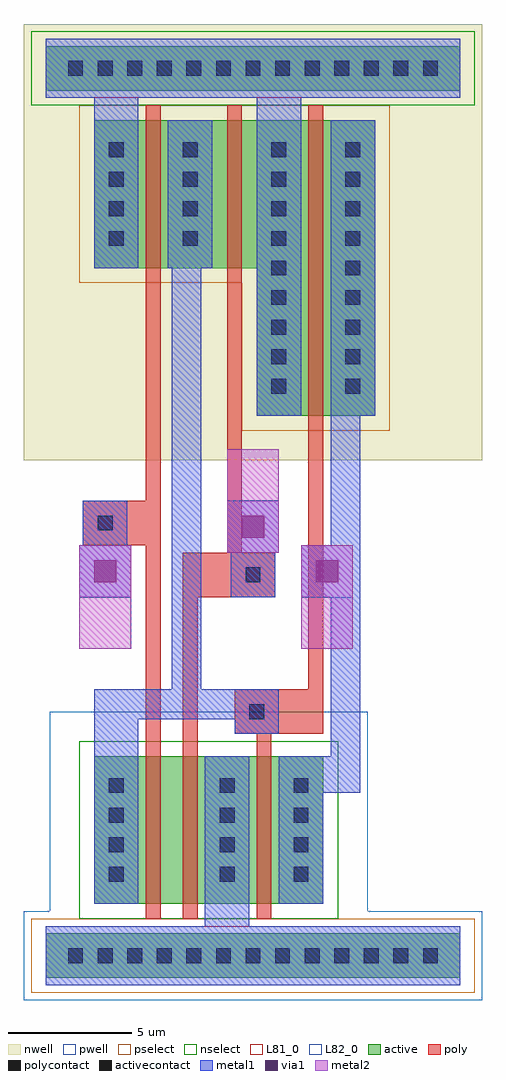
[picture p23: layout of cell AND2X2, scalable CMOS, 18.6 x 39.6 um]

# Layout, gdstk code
import gdstk
lib = gdstk.Library(unit=1e-6, precision=1e-09)
def R(c, l, rs):  # rectangles x0, y0, x1, y1
    for r in rs: c.add(gdstk.rectangle(r[:2], r[2:], *l))
def A(c, l, x, y, w, h, nx, ny, dx, dy):  # array of equal rectangles
    R(c, l, [(x+i*dx, y+j*dy, x+i*dx+w, y+j*dy+h) for i in range(nx) for j in range(ny)])
pwell = (41, 0)
nwell = (42, 0)
active = (43, 0)
pselect = (44, 0)
nselect = (45, 0)
poly = (46, 0)
polycontact = (47, 0)
activecontact = (48, 0)
metal1 = (49, 0)
via1 = (50, 0)
metal2 = (51, 0)
L81_0 = (81, 0)
L82_0 = (82, 0)

and2x2 = lib.new_cell('AND2X2')
R(and2x2, pwell, [(-1.8,-1.8,16.8,1.8), (-0.75,1.8,12.15,9.9)])
R(and2x2, nwell, [(-1.8,20.1,16.8,37.8)])
R(and2x2, active, [(-0.9,-0.9,15.9,0.9), (1.05,2.1,10.35,8.1), (7.65,21.9,12.45,27.9), (1.05,27.9,12.45,33.9), (-0.9,35.1,15.9,36.9)])
R(and2x2, pselect, [(-1.5,-1.5,16.5,1.5), (7.05,21.3,13.05,27.3), (0.45,27.3,13.05,34.5)])
R(and2x2, nselect, [(0.45,1.5,10.95,8.7), (-1.5,34.5,16.5,37.5)])
R(and2x2, poly, [(3.15,1.5,3.75,16.65), (4.65,1.5,5.25,14.55), (7.65,1.5,8.25,9), (6.75,9,10.35,10.8), (9.75,10.8,10.35,34.5), (4.65,14.55,8.4,16.35), (6.45,16.35,7.05,34.5), (0.6,16.65,3.75,18.45), (3.15,18.45,3.75,34.5)])
R(and2x2, polycontact, [(7.35,9.6,7.95,10.2), (7.2,15.15,7.8,15.75), (1.2,17.25,1.8,17.85)])
A(and2x2, activecontact, 0, -0.3, 0.6, 0.6, 13, 2, 1.2, 36)
A(and2x2, activecontact, 1.65, 3, 0.6, 0.6, 1, 4, 0, 1.2)
A(and2x2, activecontact, 6.15, 3, 0.6, 0.6, 1, 4, 0, 1.2)
A(and2x2, activecontact, 9.15, 3, 0.6, 0.6, 1, 4, 0, 1.2)
A(and2x2, activecontact, 8.25, 22.8, 0.6, 0.6, 1, 9, 0, 1.2)
A(and2x2, activecontact, 11.25, 22.8, 0.6, 0.6, 1, 9, 0, 1.2)
A(and2x2, activecontact, 1.65, 28.8, 0.6, 0.6, 1, 4, 0, 1.2)
A(and2x2, activecontact, 4.65, 28.8, 0.6, 0.6, 1, 4, 0, 1.2)
R(and2x2, metal1, [(-0.9,-1.2,15.9,1.2), (5.55,1.2,7.35,8.1), (1.05,2.1,2.85,9.6), (8.55,2.1,10.35,6.6), (8.55,6.6,11.85,8.1), (10.65,8.1,11.85,14.55), (6.75,9,8.55,9.6), (1.05,9.6,8.55,10.8), (4.2,10.8,5.4,27.9), (0.45,14.55,2.55,16.65), (6.6,14.55,8.4,16.35), (9.45,14.55,11.85,16.65), (6.45,16.35,8.55,18.45), (0.6,16.65,2.4,18.45), (10.65,16.65,11.85,21.9), (7.65,21.9,9.45,34.8), (10.65,21.9,12.45,33.9), (1.05,27.9,2.85,34.8), (4.05,27.9,5.85,33.9), (-0.9,34.8,15.9,37.2)])
R(and2x2, via1, [(1.05,15.15,1.95,16.05), (10.05,15.15,10.95,16.05), (7.05,16.95,7.95,17.85)])
R(and2x2, metal2, [(0.45,12.45,2.55,16.65), (9.45,12.45,11.55,16.65), (6.45,16.35,8.55,20.55)])
R(and2x2, L81_0, [(-0.9,-1.2,15.9,1.2), (-0.9,34.8,15.9,37.2)])
R(and2x2, L82_0, [(0.45,12.45,2.55,14.55), (9.45,12.45,11.55,14.55), (6.45,18.45,8.55,20.55)])

lib.write_gds('AND2X2.gds')
